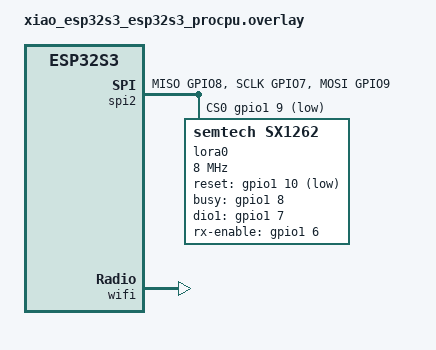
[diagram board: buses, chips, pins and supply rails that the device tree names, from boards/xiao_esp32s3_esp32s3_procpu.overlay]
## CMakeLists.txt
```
# SylvaEcho gateway, Zephyr version (XIAO ESP32S3 + Wio-SX1262)
#
# Build:  west build -b xiao_esp32s3/esp32s3/procpu Gateway_zephyr
# Flash:  west flash
#
# Wi-Fi and MQTT settings: copy secrets.conf.example to secrets.conf (git-ignored);
# it is picked up automatically.
cmake_minimum_required(VERSION 3.20.0)

if(EXISTS ${CMAKE_CURRENT_LIST_DIR}/secrets.conf)
  list(APPEND EXTRA_CONF_FILE ${CMAKE_CURRENT_LIST_DIR}/secrets.conf)
endif()

find_package(Zephyr REQUIRED HINTS $ENV{ZEPHYR_BASE})
project(sylvaecho_gateway)

# Same decoder as the Arduino gateway, so both always agree on the report format.
set(SHARED ${CMAKE_CURRENT_SOURCE_DIR}/../Gateway/src)
target_include_directories(app PRIVATE ${SHARED})
target_sources(app PRIVATE
    src/main.cpp
    ${SHARED}/decode.cpp
)
```

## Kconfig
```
menu "SylvaEcho gateway"

config GW_WIFI_SSID
	string "Wi-Fi network name"
	default ""
	help
	  Leave empty to run without Wi-Fi (USB serial output only).

config GW_WIFI_PSK
	string "Wi-Fi password (WPA2-PSK)"
	default ""

config GW_MQTT_HOST
	string "MQTT broker host name or IPv4 address"
	default ""
	help
	  Leave empty to switch MQTT off. Reports are published to
	  sylvaecho/<node>/<type>.

config GW_MQTT_PORT
	int "MQTT broker port"
	default 1883

config GW_MQTT_USER
	string "MQTT user name (optional)"
	default ""

config GW_MQTT_PASS
	string "MQTT password (optional)"
	default ""

config GW_LORA_FREQ_HZ
	int "LoRa channel, Hz (must match the node's config.h)"
	default 865062500

endmenu

source "Kconfig.zephyr"
```

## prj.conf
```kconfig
# SylvaEcho gateway (Zephyr) for the XIAO ESP32S3 + Wio-SX1262

# C++ for the decoder shared with the Arduino gateway (../Gateway/src/decode.cpp)
CONFIG_CPP=y
CONFIG_STD_CPP17=y
CONFIG_REQUIRES_FLOAT_PRINTF=y

CONFIG_MAIN_STACK_SIZE=8192
CONFIG_SYSTEM_WORKQUEUE_STACK_SIZE=4096
CONFIG_HEAP_MEM_POOL_SIZE=65536

# Radio
CONFIG_GPIO=y
CONFIG_SPI=y
CONFIG_LORA=y

# Wi-Fi, IPv4, DHCP, DNS, sockets
CONFIG_WIFI=y
CONFIG_NETWORKING=y
CONFIG_NET_L2_WIFI_MGMT=y
CONFIG_NET_IPV4=y
CONFIG_NET_IPV6=n
CONFIG_NET_TCP=y
CONFIG_NET_DHCPV4=y
CONFIG_NET_SOCKETS=y
CONFIG_NET_MGMT=y
CONFIG_NET_MGMT_EVENT=y
CONFIG_NET_MGMT_EVENT_INFO=y
CONFIG_DNS_RESOLVER=y
CONFIG_NET_CONNECTION_MANAGER=n

# MQTT
CONFIG_MQTT_LIB=y
CONFIG_MQTT_KEEPALIVE=60

# Console and logs on the USB serial port
CONFIG_LOG=y
CONFIG_LOG_DEFAULT_LEVEL=3
CONFIG_PRINTK=y
```

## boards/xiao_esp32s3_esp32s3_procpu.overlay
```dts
/*
 * SylvaEcho gateway: Seeed XIAO ESP32S3 + Wio-SX1262 (kit 102010611)
 *
 * The Wio-SX1262 sits on the XIAO B2B connector (Meshtastic seeed_xiao_s3 pin map):
 *   SCK GPIO7   MISO GPIO8   MOSI GPIO9   NSS GPIO41
 *   RESET GPIO42   DIO1 GPIO39   BUSY GPIO40   RXEN GPIO38
 *   DIO2 drives the TX side of the RF switch; TCXO on DIO3 at 1.8 V.
 *
 * GPIO32-48 live on &gpio1 (pin = GPIO - 32).
 */

#include <zephyr/dt-bindings/pinctrl/esp32s3-pinctrl.h>
#include <zephyr/dt-bindings/lora/sx126x.h>

/ {
	aliases {
		lora0 = &lora0;
	};
};

&pinctrl {
	spim2_wio: spim2_wio {
		group1 {
			pinmux = <SPIM2_MISO_GPIO8>,
				 <SPIM2_SCLK_GPIO7>;
		};
		group2 {
			pinmux = <SPIM2_MOSI_GPIO9>;
			output-low;
		};
	};
};

&spi2 {
	status = "okay";
	#address-cells = <1>;
	#size-cells = <0>;
	pinctrl-0 = <&spim2_wio>;
	pinctrl-names = "default";
	cs-gpios = <&gpio1 9 GPIO_ACTIVE_LOW>;          /* GPIO41 */

	lora0: lora@0 {
		compatible = "semtech,sx1262";
		reg = <0>;
		spi-max-frequency = <8000000>;
		reset-gpios = <&gpio1 10 GPIO_ACTIVE_LOW>;    /* GPIO42 */
		busy-gpios = <&gpio1 8 GPIO_ACTIVE_HIGH>;     /* GPIO40 */
		dio1-gpios = <&gpio1 7 GPIO_ACTIVE_HIGH>;     /* GPIO39 */
		rx-enable-gpios = <&gpio1 6 GPIO_ACTIVE_HIGH>; /* GPIO38 */
		dio2-tx-enable;
		dio3-tcxo-voltage = <SX126X_DIO3_TCXO_1V8>;
		tcxo-power-startup-delay-ms = <5>;
	};
};

&wifi {
	status = "okay";
};
```

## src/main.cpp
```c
/*
 * SylvaEcho gateway, Zephyr version (XIAO ESP32S3 + Wio-SX1262)
 *
 * - LoRa: continuous receive with lora_recv_async() on the node's channel.
 *   The callback only queues the packet; the main thread decodes it.
 * - Every report becomes one JSON line on the console (USB serial).
 * - With Wi-Fi and an MQTT broker configured (secrets.conf), each report is
 *   published to sylvaecho/<node>/<type>, QoS 0.
 *
 * Radio settings must match Firmware/src/config.h on the node: SF10, BW 125 kHz,
 * CR 4/5, preamble 8, private sync word (public_network = false), CRC on.
 */
#include <errno.h>
#include <stdio.h>
#include <string.h>

#include <zephyr/kernel.h>
#include <zephyr/device.h>
#include <zephyr/drivers/lora.h>
#include <zephyr/logging/log.h>
#include <zephyr/net/dhcpv4.h>
#include <zephyr/net/mqtt.h>
#include <zephyr/net/net_if.h>
#include <zephyr/net/net_mgmt.h>
#include <zephyr/net/socket.h>
#include <zephyr/net/wifi_mgmt.h>
#include <zephyr/version.h>

#include "decode.h"

LOG_MODULE_REGISTER(gateway, LOG_LEVEL_INF);

/* --------------------------------------------------------------- LoRa */

struct rx_packet {
	uint8_t len;
	int16_t rssi;
	int8_t snr;
	uint8_t data[64];
};

K_MSGQ_DEFINE(rx_q, sizeof(struct rx_packet), 8, 4);

static const struct device *const lora = DEVICE_DT_GET(DT_ALIAS(lora0));
static uint32_t rx_count, rx_bad, rx_dup, rx_drop;

static void on_lora_rx(const struct device *dev, uint8_t *data, uint16_t size, int16_t rssi,
		       int8_t snr, void *user_data)
{
	struct rx_packet p;

	ARG_UNUSED(dev);
	ARG_UNUSED(user_data);
	p.len = size > sizeof(p.data) ? sizeof(p.data) : size;
	p.rssi = rssi;
	p.snr = snr;
	memcpy(p.data, data, p.len);
	if (k_msgq_put(&rx_q, &p, K_NO_WAIT) != 0) {
		rx_drop++;
	}
}

static int lora_start(void)
{
	struct lora_modem_config c = {};

	if (!device_is_ready(lora)) {
		LOG_ERR("SX1262 not ready: check the Wio-SX1262 board and overlay");
		return -ENODEV;
	}
	c.frequency = CONFIG_GW_LORA_FREQ_HZ;
	c.bandwidth = BW_125_KHZ;
	c.datarate = SF_10;
	c.coding_rate = CR_4_5;
	c.preamble_len = 8;
	c.tx_power = 14;
	c.tx = false;
	c.iq_inverted = false;
	c.public_network = false;

	int err = lora_config(lora, &c);

	if (!err) {
		err = lora_recv_async(lora, on_lora_rx, NULL);
	}
	LOG_INF("LoRa: listening on %u Hz SF10 BW125 (%d)", CONFIG_GW_LORA_FREQ_HZ, err);
	return err;
}

/* Duplicate filter: last sequence number per node. */
struct seen {
	uint16_t node, seq;
	bool used;
};
static struct seen seen_tab[16];

static bool is_duplicate(uint16_t node, uint16_t seq)
{
	struct seen *free_slot = NULL;

	for (struct seen &s : seen_tab) {
		if (s.used && s.node == node) {
			bool dup = s.seq == seq;

			s.seq = seq;
			return dup;
		}
		if (!s.used && !free_slot) {
			free_slot = &s;
		}
	}
	struct seen *slot = free_slot ? free_slot : &seen_tab[node % ARRAY_SIZE(seen_tab)];

	*slot = {node, seq, true};
	return false;
}

/* ------------------------------------------------------------ Wi-Fi */

#if KERNEL_VERSION_NUMBER >= ZEPHYR_VERSION(4, 2, 0)
typedef uint64_t mgmt_event_t;
#else
typedef uint32_t mgmt_event_t;
#endif

static struct net_mgmt_event_callback wifi_cb, ip_cb;
static struct net_if *iface;
static volatile bool wifi_up, ip_up;
static int64_t wifi_retry_at;

static bool wifi_configured(void)
{
	return strlen(CONFIG_GW_WIFI_SSID) > 0;
}

static void wifi_connect(void)
{
	struct wifi_connect_req_params p = {};

	p.ssid = (const uint8_t *)CONFIG_GW_WIFI_SSID;
	p.ssid_length = strlen(CONFIG_GW_WIFI_SSID);
	p.psk = (const uint8_t *)CONFIG_GW_WIFI_PSK;
	p.psk_length = strlen(CONFIG_GW_WIFI_PSK);
	p.security = p.psk_length ? WIFI_SECURITY_TYPE_PSK : WIFI_SECURITY_TYPE_NONE;
	p.channel = WIFI_CHANNEL_ANY;
	p.band = WIFI_FREQ_BAND_2_4_GHZ;
	p.mfp = WIFI_MFP_OPTIONAL;

	int err = net_mgmt(NET_REQUEST_WIFI_CONNECT, iface, &p, sizeof(p));

	LOG_INF("Wi-Fi: connecting to %s (%d)", CONFIG_GW_WIFI_SSID, err);
	wifi_retry_at = k_uptime_get() + 20000; /* retry if no result in 20 s */
}

static void on_wifi_event(struct net_mgmt_event_callback *cb, mgmt_event_t event,
			  struct net_if *ifc)
{
	ARG_UNUSED(ifc);
	if (event == NET_EVENT_WIFI_CONNECT_RESULT) {
		const struct wifi_status *st = (const struct wifi_status *)cb->info;

		if (st->status == 0) {
			wifi_up = true;
			wifi_retry_at = 0;
			LOG_INF("Wi-Fi: connected, requesting an address");
			net_dhcpv4_start(iface);
		} else {
			LOG_WRN("Wi-Fi: connect failed (%d)", st->status);
			wifi_retry_at = k_uptime_get() + 10000;
		}
	} else if (event == NET_EVENT_WIFI_DISCONNECT_RESULT) {
		wifi_up = false;
		ip_up = false;
		LOG_WRN("Wi-Fi: disconnected");
		wifi_retry_at = k_uptime_get() + 5000;
	}
}

static void on_ip_event(struct net_mgmt_event_callback *cb, mgmt_event_t event,
			struct net_if *ifc)
{
	ARG_UNUSED(cb);
	ARG_UNUSED(ifc);
	if (event == NET_EVENT_IPV4_ADDR_ADD) {
		ip_up = true;
		LOG_INF("Wi-Fi: got an IPv4 address");
	}
}

static void wifi_start(void)
{
	if (!wifi_configured()) {
		LOG_INF("Wi-Fi: no SSID set, serial output only");
		return;
	}
	iface = net_if_get_default();
	net_mgmt_init_event_callback(&wifi_cb, on_wifi_event,
				     NET_EVENT_WIFI_CONNECT_RESULT | NET_EVENT_WIFI_DISCONNECT_RESULT);
	net_mgmt_add_event_callback(&wifi_cb);
	net_mgmt_init_event_callback(&ip_cb, on_ip_event, NET_EVENT_IPV4_ADDR_ADD);
	net_mgmt_add_event_callback(&ip_cb);
	wifi_connect();
}

static void wifi_service(void)
{
	if (wifi_configured() && !wifi_up && wifi_retry_at && k_uptime_get() >= wifi_retry_at) {
		wifi_connect();
	}
}

/* ------------------------------------------------------------- MQTT */

static struct mqtt_client client;
static struct sockaddr_storage broker;
static uint8_t mqtt_rx_buf[256];
static uint8_t mqtt_tx_buf[1536];
static char client_id[32];
static struct mqtt_utf8 mqtt_user, mqtt_pass;
static bool mqtt_connected, mqtt_open;
static int64_t mqtt_retry_at;
static uint16_t msg_id = 1;

static bool mqtt_configured(void)
{
	return strlen(CONFIG_GW_MQTT_HOST) > 0;
}

static void mqtt_evt(struct mqtt_client *c, const struct mqtt_evt *evt)
{
	ARG_UNUSED(c);
	switch (evt->type) {
	case MQTT_EVT_CONNACK:
		mqtt_connected = evt->result == 0;
		LOG_INF("MQTT: %s", mqtt_connected ? "connected" : "refused");
		break;
	case MQTT_EVT_DISCONNECT:
		mqtt_connected = false;
		mqtt_open = false;
		LOG_WRN("MQTT: disconnected");
		break;
	default:
		break;
	}
}

static int resolve_broker(void)
{
	struct zsock_addrinfo hints = {};
	struct zsock_addrinfo *res = NULL;
	char port[8];

	hints.ai_family = AF_INET;
	hints.ai_socktype = SOCK_STREAM;
	snprintf(port, sizeof(port), "%d", CONFIG_GW_MQTT_PORT);

	int err = zsock_getaddrinfo(CONFIG_GW_MQTT_HOST, port, &hints, &res);

	if (err || !res) {
		LOG_WRN("MQTT: cannot resolve %s (%d)", CONFIG_GW_MQTT_HOST, err);
		return -EHOSTUNREACH;
	}
	memcpy(&broker, res->ai_addr, res->ai_addrlen);
	zsock_freeaddrinfo(res);
	return 0;
}

static void mqtt_start(void)
{
	if (resolve_broker() != 0) {
		return;
	}
	mqtt_client_init(&client);
	snprintf(client_id, sizeof(client_id), "sylvaecho-gw-%08x", (unsigned)sys_rand32_get());
	client.broker = &broker;
	client.evt_cb = mqtt_evt;
	client.client_id.utf8 = (const uint8_t *)client_id;
	client.client_id.size = strlen(client_id);
	client.protocol_version = MQTT_VERSION_3_1_1;
	client.rx_buf = mqtt_rx_buf;
	client.rx_buf_size = sizeof(mqtt_rx_buf);
	client.tx_buf = mqtt_tx_buf;
	client.tx_buf_size = sizeof(mqtt_tx_buf);
	client.transport.type = MQTT_TRANSPORT_NON_SECURE;
	if (strlen(CONFIG_GW_MQTT_USER)) {
		mqtt_user.utf8 = (const uint8_t *)CONFIG_GW_MQTT_USER;
		mqtt_user.size = strlen(CONFIG_GW_MQTT_USER);
		mqtt_pass.utf8 = (const uint8_t *)CONFIG_GW_MQTT_PASS;
		mqtt_pass.size = strlen(CONFIG_GW_MQTT_PASS);
		client.user_name = &mqtt_user;
		client.password = &mqtt_pass;
	}

	int err = mqtt_connect(&client);

	if (err) {
		LOG_WRN("MQTT: connect to %s failed (%d)", CONFIG_GW_MQTT_HOST, err);
		return;
	}
	mqtt_open = true;
}

static void mqtt_service(void)
{
	if (!mqtt_configured() || !ip_up) {
		return;
	}
	if (!mqtt_open) {
		if (k_uptime_get() >= mqtt_retry_at) {
			mqtt_retry_at = k_uptime_get() + 5000;
			mqtt_start();
		}
		return;
	}

	struct zsock_pollfd fds = { .fd = client.transport.tcp.sock, .events = ZSOCK_POLLIN };

	if (zsock_poll(&fds, 1, 0) > 0) {
		if (mqtt_input(&client) != 0) {
			mqtt_abort(&client);
			mqtt_open = mqtt_connected = false;
			return;
		}
	}
	if (mqtt_connected) {
		mqtt_live(&client);
	}
}

static void mqtt_send(const char *topic, const char *payload, size_t len)
{
	if (!mqtt_connected) {
		return;
	}
	struct mqtt_publish_param p = {};

	p.message.topic.qos = MQTT_QOS_0_AT_MOST_ONCE;
	p.message.topic.topic.utf8 = (const uint8_t *)topic;
	p.message.topic.topic.size = strlen(topic);
	p.message.payload.data = (uint8_t *)payload;
	p.message.payload.len = len;
	p.message_id = msg_id++;

	int err = mqtt_publish(&client, &p);

	if (err) {
		LOG_WRN("MQTT: publish failed (%d)", err);
	}
}

/* ------------------------------------------------------------- main */

static void handle(const struct rx_packet *p)
{
	Report r;
	static char json[1024];

	rx_count++;
	if (!decode_report(p->data, p->len, &r)) {
		rx_bad++;
		printk("# foreign packet, %u bytes (rssi %d)\n", p->len, p->rssi);
		return;
	}
	if (is_duplicate(r.node_id, r.seq)) {
		rx_dup++;
		return;
	}

	size_t n = report_to_json(r, p->rssi, (float)p->snr, json, sizeof(json));

	if (n == 0) {
		printk("# json buffer too small\n");
		return;
	}
	printk("%s\n", json);

	char topic[48];

	snprintf(topic, sizeof(topic), "sylvaecho/%u/%s", r.node_id, msg_type_name(r.type));
	mqtt_send(topic, json, n);
}

int main(void)
{
	printk("# SylvaEcho gateway (Zephyr %s)\n", KERNEL_VERSION_STRING);

	if (lora_start() != 0) {
		return 0;
	}
	wifi_start();

	int64_t next_stats = k_uptime_get() + 600000;

	while (true) {
		struct rx_packet p;

		if (k_msgq_get(&rx_q, &p, K_MSEC(200)) == 0) {
			handle(&p);
		}
		wifi_service();
		mqtt_service();

		if (k_uptime_get() >= next_stats) {
			char s[160];

			next_stats += 600000;
			snprintf(s, sizeof(s),
				 "{\"gateway\":\"stats\",\"rx\":%u,\"bad\":%u,\"dup\":%u,\"dropped\":%u,"
				 "\"wifi\":%s,\"uptime_s\":%u}",
				 rx_count, rx_bad, rx_dup, rx_drop, ip_up ? "true" : "false",
				 (unsigned)(k_uptime_get() / 1000));
			printk("%s\n", s);
			mqtt_send("sylvaecho/gateway/stats", s, strlen(s));
		}
	}
	return 0;
}
```
